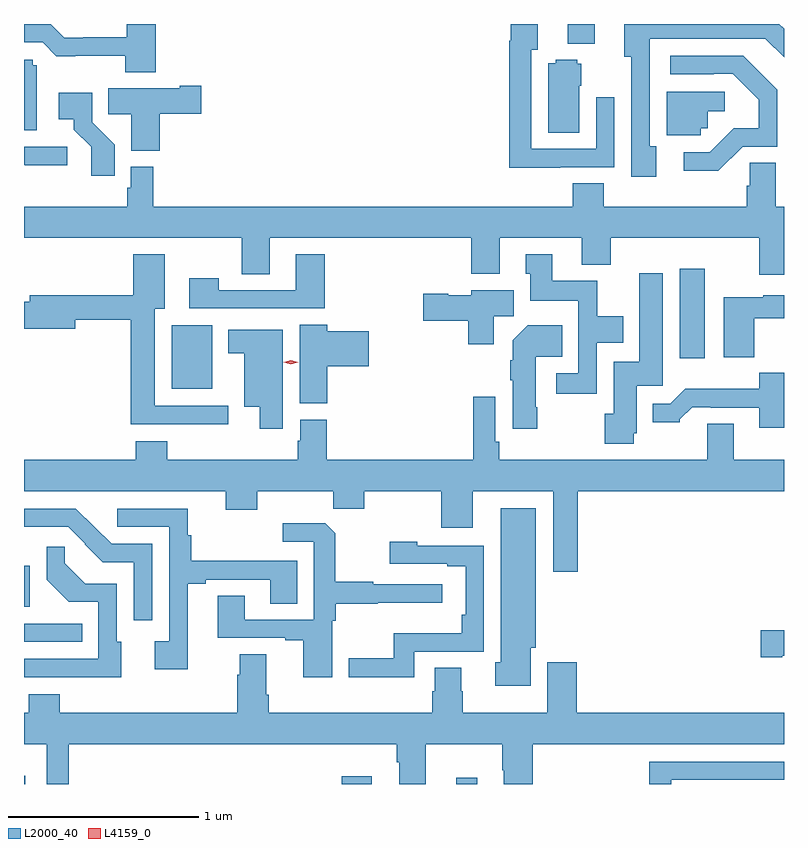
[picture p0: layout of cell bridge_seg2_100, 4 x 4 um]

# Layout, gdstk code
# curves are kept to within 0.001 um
import gdstk
lib = gdstk.Library(unit=1e-6, precision=1e-09)
def R(c, l, rs):  # rectangles x0, y0, x1, y1
    for r in rs: c.add(gdstk.rectangle(r[:2], r[2:], *l))
def P(c, l, *ps):  # polygons
    for p in ps: c.add(gdstk.Polygon(p, *l))
L2000_40 = (2000, 40)
L4159_0 = (4159, 0)

bridge_seg2_100 = lib.new_cell('bridge_seg2_100')
R(bridge_seg2_100, L2000_40, [(588.364,654.086,588.37,654.13), (590.036,654.086,590.194,654.127), (590.639,654.086,590.749,654.118), (588.364,654.834,588.671,654.93), (588.364,655.019,588.394,655.234), (589.142,656.165,589.354,656.5), (591.815,656.328,591.946,656.797), (591.227,657.983,591.367,658.086)])
P(bridge_seg2_100, L2000_40, [(591.187,657.333),(591.471,657.333),(591.471,657.7),(591.375,657.7),(591.375,657.429),(591.033,657.429),(591.033,657.95),(591.067,657.95),(591.067,658.086),(590.925,658.086),(590.925,657.998),(590.917,657.998),(590.917,657.329),(591.187,657.329)],
  [(589.058,658.086),(588.905,658.086),(588.905,658.017),(588.676,658.017),(588.676,658.014),(588.576,658.014),(588.504,658.086),(588.364,658.086),(588.364,657.99),(588.462,657.99),(588.535,657.917),(588.898,657.918),(588.898,657.833),(589.058,657.833)],
  [(591.691,657.442),(591.657,657.442),(591.657,658.008),(592.266,658.008),(592.364,657.91),(592.364,658.06),(592.338,658.086),(591.524,658.086),(591.524,657.914),(591.561,657.914),(591.561,657.282),(591.691,657.282)],
  [(592.146,657.441),(592.329,657.441),(592.329,657.739),(592.15,657.918),(591.765,657.918),(591.765,657.822),(591.995,657.822),(591.995,657.825),(592.095,657.825),(592.232,657.688),(592.232,657.538),(592.099,657.538),(591.972,657.411),(591.837,657.411),(591.837,657.314),(592.018,657.314)],
  [(591.286,657.762),(591.298,657.762),(591.298,657.876),(591.276,657.876),(591.276,657.898),(591.162,657.898),(591.162,657.88),(591.122,657.88),(591.122,657.514),(591.286,657.514)],
  [(588.43,657.87),(588.411,657.87),(588.411,657.897),(588.364,657.897),(588.364,657.526),(588.43,657.526)],
  [(589.079,657.614),(589.297,657.614),(589.297,657.761),(589.184,657.761),(589.184,657.748),(588.808,657.748),(588.808,657.61),(588.929,657.61),(588.929,657.419),(589.079,657.419)],
  [(591.927,657.537),(591.963,657.537),(591.963,657.626),(592.051,657.626),(592.051,657.729),(591.746,657.729),(591.746,657.501),(591.927,657.501)],
  [(588.842,657.45),(588.723,657.569),(588.723,657.724),(588.546,657.724),(588.546,657.584),(588.626,657.584),(588.626,657.529),(588.717,657.439),(588.717,657.288),(588.842,657.288)],
  [(588.592,657.441),(588.364,657.441),(588.364,657.345),(588.367,657.345),(588.367,657.343),(588.592,657.343)],
  [(592.364,657.124),(592.321,657.124),(592.321,657.356),(592.183,657.356),(592.183,657.234),(592.169,657.234),(592.169,657.124),(591.416,657.124),(591.416,657.248),(591.251,657.248),(591.251,657.124),(589.043,657.124),(589.043,657.334),(588.927,657.334),(588.927,657.225),(588.907,657.225),(588.907,657.124),(588.364,657.124),(588.364,656.96),(589.51,656.96),(589.51,656.77),(589.657,656.77),(589.657,656.96),(590.717,656.96),(590.717,656.771),(590.869,656.771),(590.869,656.96),(591.299,656.96),(591.299,656.819),(591.452,656.819),(591.452,656.96),(592.235,656.96),(592.235,656.766),(592.364,656.766)],
  [(589.438,656.076),(589.051,656.076),(589.051,656.588),(589.105,656.588),(589.105,656.875),(588.938,656.875),(588.938,656.659),(588.395,656.659),(588.395,656.625),(588.364,656.625),(588.364,656.483),(588.634,656.483),(588.634,656.53),(588.926,656.53),(588.926,655.979),(589.438,655.979)],
  [(589.946,656.875),(589.793,656.875),(589.793,656.685),(589.389,656.685),(589.389,656.749),(589.233,656.749),(589.233,656.589),(589.946,656.589)],
  [(591.378,656.408),(591.517,656.408),(591.517,656.548),(591.381,656.548),(591.381,656.734),(591.145,656.734),(591.145,656.875),(591.005,656.875),(591.005,656.772),(591.029,656.772),(591.029,656.63),(591.282,656.63),(591.282,656.247),(591.165,656.247),(591.165,656.139),(591.378,656.139)],
  [(591.573,655.932),(591.589,655.932),(591.589,656.181),(591.727,656.181),(591.727,656.773),(591.602,656.773),(591.602,656.308),(591.467,656.308),(591.467,656.034),(591.421,656.034),(591.421,655.878),(591.573,655.878)],
  [(590.836,656.548),(590.941,656.548),(590.941,656.686),(590.718,656.686),(590.718,656.659),(590.598,656.659),(590.598,656.667),(590.466,656.667),(590.466,656.525),(590.702,656.525),(590.702,656.4),(590.836,656.4)],
  [(592.208,656.537),(592.364,656.537),(592.364,656.659),(592.254,656.659),(592.254,656.647),(592.046,656.647),(592.046,656.333),(592.208,656.333)],
  [(589.961,656.285),(590.179,656.285),(590.179,656.468),(589.961,656.468),(589.961,656.504),(589.814,656.504),(589.814,656.089),(589.961,656.089)],
  [(591.066,656.068),(591.058,656.068),(591.058,656.336),(591.197,656.336),(591.197,656.5),(591.014,656.5),(590.936,656.422),(590.936,656.315),(590.924,656.315),(590.924,656.212),(590.936,656.212),(590.936,655.956),(591.066,655.956)],
  [(589.726,656.476),(589.439,656.476),(589.439,656.354),(589.523,656.354),(589.523,656.072),(589.604,656.072),(589.604,655.956),(589.726,655.956)],
  [(592.364,656.251),(592.233,656.251),(592.233,656.167),(591.844,656.167),(591.765,656.088),(591.674,656.088),(591.674,655.991),(591.816,655.991),(591.816,656.006),(591.88,656.07),(591.979,656.07),(591.979,656.067),(592.235,656.067),(592.235,655.962),(592.364,655.962)],
  [(591.278,655.628),(592.364,655.628),(592.364,655.792),(592.099,655.792),(592.099,655.982),(591.959,655.982),(591.959,655.792),(590.864,655.792),(590.864,655.888),(590.844,655.888),(590.844,656.125),(590.728,656.125),(590.728,655.792),(589.958,655.792),(589.958,656.004),(589.817,656.004),(589.817,655.893),(589.805,655.893),(589.805,655.792),(589.118,655.792),(589.118,655.891),(588.953,655.891),(588.953,655.792),(588.364,655.792),(588.364,655.628),(589.427,655.628),(589.427,655.529),(589.591,655.529),(589.591,655.628),(589.991,655.628),(589.991,655.535),(590.155,655.535),(590.155,655.628),(590.561,655.628),(590.561,655.434),(590.725,655.434),(590.725,655.628),(591.149,655.628),(591.149,655.203),(591.278,655.203)],
  [(591.031,654.804),(591.058,654.804),(591.058,655.537),(590.873,655.537),(590.873,654.728),(590.843,654.728),(590.843,654.602),(591.031,654.602)],
  [(589.038,655.35),(588.825,655.35),(588.637,655.536),(588.364,655.536),(588.364,655.439),(588.597,655.44),(588.687,655.35),(588.685,655.348),(588.779,655.254),(588.942,655.254),(588.942,654.948),(589.038,654.948)],
  [(589.225,655.141),(589.321,655.141),(589.321,655.161),(589.661,655.161),(589.661,655.036),(589.801,655.036),(589.801,655.262),(589.244,655.262),(589.244,655.394),(589.226,655.394),(589.226,655.536),(588.855,655.536),(588.855,655.44),(589.128,655.44),(589.128,654.838),(589.053,654.838),(589.053,654.69),(589.225,654.69)],
  [(589.986,654.944),(590.006,654.944),(590.006,655.036),(590.225,655.036),(590.225,655.04),(590.566,655.04),(590.566,655.137),(590.201,655.137),(590.201,655.15),(590.001,655.15),(590.001,655.407),(589.949,655.459),(589.725,655.459),(589.725,655.362),(589.89,655.362),(589.89,654.951),(589.525,654.951),(589.525,655.076),(589.385,655.076),(589.385,654.855),(589.739,654.855),(589.739,654.843),(589.835,654.843),(589.835,654.648),(589.986,654.648)],
  [(590.418,654.783),(590.784,654.783),(590.784,655.341),(590.433,655.341),(590.433,655.36),(590.289,655.36),(590.289,655.245),(590.591,655.245),(590.591,655.233),(590.688,655.233),(590.688,654.976),(590.668,654.976),(590.668,654.88),(590.31,654.88),(590.31,654.749),(590.073,654.749),(590.073,654.647),(590.418,654.647)],
  [(588.877,654.834),(588.852,654.834),(588.852,655.14),(588.686,655.14),(588.578,655.248),(588.578,655.336),(588.483,655.336),(588.483,655.16),(588.599,655.044),(588.756,655.044),(588.756,654.744),(588.364,654.744),(588.364,654.648),(588.877,654.647)],
  [(592.354,654.761),(592.364,654.761),(592.364,654.896),(592.242,654.896),(592.242,654.754),(592.354,654.754)],
  [(588.599,654.296),(590.327,654.296),(590.327,654.2),(590.339,654.2),(590.339,654.086),(590.479,654.086),(590.479,654.296),(590.881,654.296),(590.881,654.158),(590.888,654.158),(590.888,654.086),(591.041,654.086),(591.041,654.296),(592.364,654.296),(592.364,654.46),(591.272,654.46),(591.272,654.727),(591.119,654.727),(591.119,654.46),(590.673,654.46),(590.673,654.573),(590.665,654.573),(590.665,654.698),(590.525,654.698),(590.525,654.573),(590.513,654.573),(590.513,654.46),(589.652,654.46),(589.652,654.556),(589.639,654.556),(589.639,654.77),(589.499,654.77),(589.499,654.662),(589.487,654.662),(589.487,654.46),(588.553,654.46),(588.553,654.559),(588.389,654.559),(588.389,654.46),(588.364,654.46),(588.364,654.296),(588.483,654.296),(588.483,654.086),(588.599,654.086)],
  [(591.771,654.108),(592.364,654.108),(592.364,654.204),(591.655,654.204),(591.655,654.086),(591.771,654.086)])
P(bridge_seg2_100, L4159_0, [(589.769,656.296),(589.731,656.305),(589.731,656.305),(589.731,656.306),(589.769,656.316),(589.807,656.306),(589.807,656.306),(589.807,656.305)])

lib.write_gds('bridge_seg2_100.gds')
